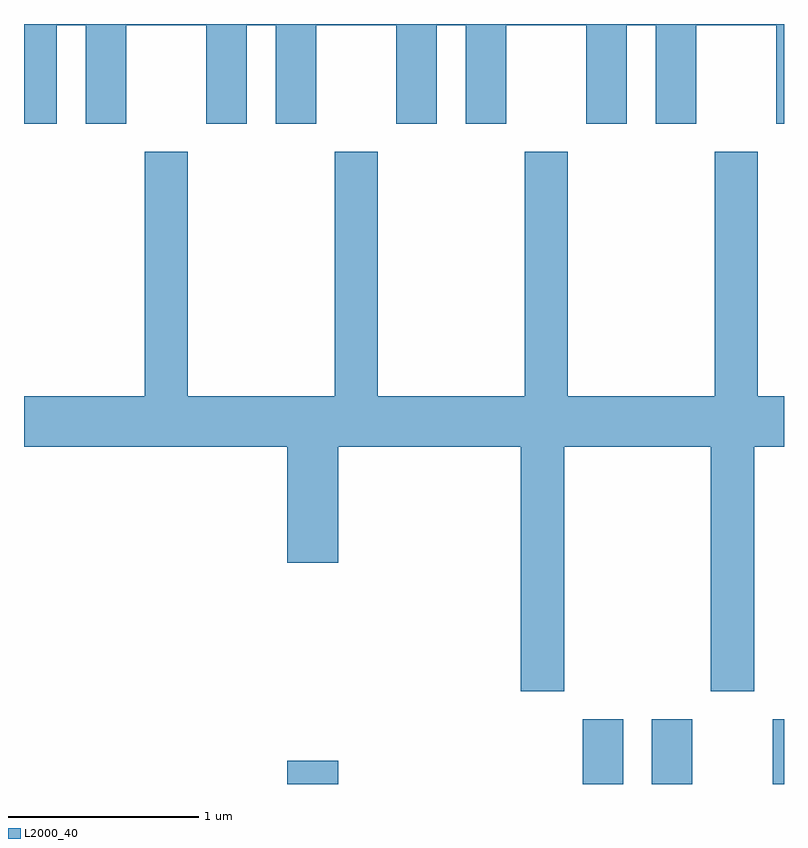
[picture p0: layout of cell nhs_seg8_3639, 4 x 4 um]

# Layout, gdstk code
import gdstk
lib = gdstk.Library(unit=1e-6, precision=1e-09)
def R(c, l, rs):  # rectangles x0, y0, x1, y1
    for r in rs: c.add(gdstk.rectangle(r[:2], r[2:], *l))
def P(c, l, *ps):  # polygons
    for p in ps: c.add(gdstk.Polygon(p, *l))
L2000_40 = (2000, 40)

nhs_seg8_3639 = lib.new_cell('nhs_seg8_3639')
R(nhs_seg8_3639, L2000_40, [(294.996,1912.342,295.264,1912.464), (296.551,1912.342,296.764,1912.684), (296.916,1912.342,297.129,1912.684), (297.551,1912.342,297.611,1912.684)])
P(nhs_seg8_3639, L2000_40, [(293.784,1916.336),(293.936,1916.336),(293.936,1915.816),(294.149,1915.816),(294.149,1916.336),(294.571,1916.336),(294.571,1915.816),(294.784,1915.816),(294.784,1916.336),(294.936,1916.336),(294.936,1915.816),(295.149,1915.816),(295.149,1916.336),(295.571,1916.336),(295.571,1915.816),(295.784,1915.816),(295.784,1916.336),(295.936,1916.336),(295.936,1915.816),(296.149,1915.816),(296.149,1916.336),(296.571,1916.336),(296.571,1915.816),(296.784,1915.816),(296.784,1916.336),(296.936,1916.336),(296.936,1915.816),(297.149,1915.816),(297.149,1916.336),(297.571,1916.336),(297.571,1915.816),(297.611,1915.816),(297.611,1916.342),(293.611,1916.342),(293.611,1915.816),(293.784,1915.816)],
  [(296.454,1914.116),(297.226,1914.116),(297.226,1912.831),(297.454,1912.831),(297.454,1914.116),(297.611,1914.116),(297.611,1914.384),(297.474,1914.384),(297.474,1915.669),(297.246,1915.669),(297.246,1914.384),(296.474,1914.384),(296.474,1915.669),(296.246,1915.669),(296.246,1914.384),(295.474,1914.384),(295.474,1915.669),(295.246,1915.669),(295.246,1914.384),(294.474,1914.384),(294.474,1915.669),(294.246,1915.669),(294.246,1914.384),(293.611,1914.384),(293.611,1914.116),(294.996,1914.116),(294.996,1913.506),(295.264,1913.506),(295.264,1914.116),(296.226,1914.116),(296.226,1912.831),(296.454,1912.831)])

lib.write_gds('nhs_seg8_3639.gds')
